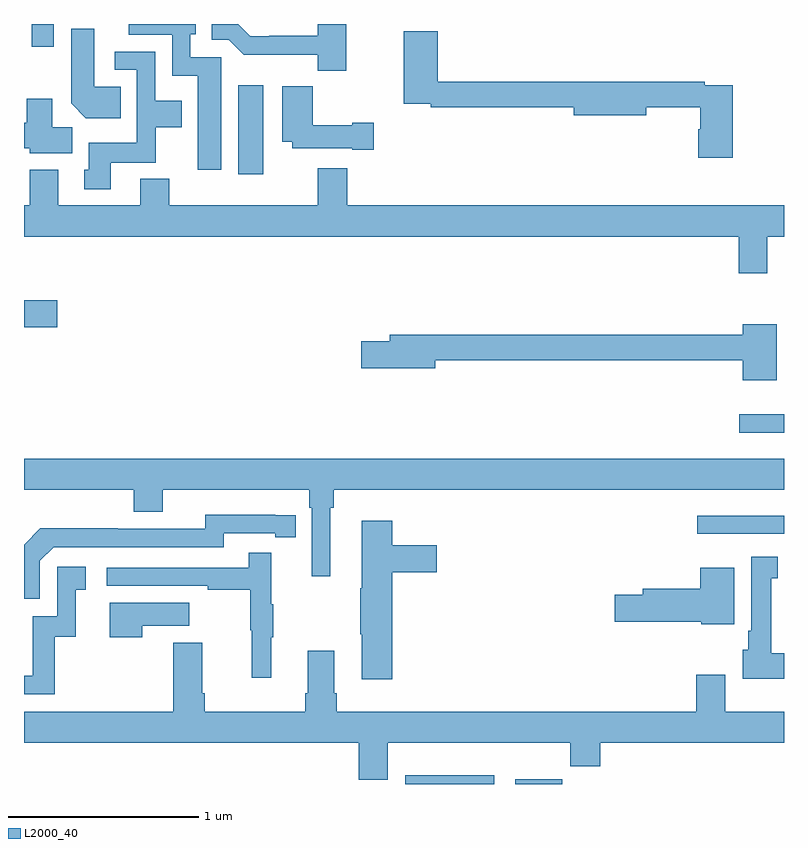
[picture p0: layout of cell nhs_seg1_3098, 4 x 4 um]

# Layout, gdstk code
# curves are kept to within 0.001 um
import gdstk
lib = gdstk.Library(unit=1e-6, precision=1e-09)
def R(c, l, rs):  # rectangles x0, y0, x1, y1
    for r in rs: c.add(gdstk.rectangle(r[:2], r[2:], *l))
def P(c, l, *ps):  # polygons
    for p in ps: c.add(gdstk.Polygon(p, *l))
L2000_40 = (2000, 40)

nhs_seg1_3098 = lib.new_cell('nhs_seg1_3098')
R(nhs_seg1_3098, L2000_40, [(281.006,534.199,281.476,534.244), (281.585,534.199,281.834,534.223), (282.543,535.515,283,535.612), (282.765,536.048,283,536.145), (279,536.603,279.175,536.745), (280.127,537.408,280.258,537.877), (279.04,538.08,279.156,538.199)])
P(nhs_seg1_3098, L2000_40, [(280.039,538.023),(279.876,538.023),(279.876,538.146),(279.904,538.146),(279.904,538.199),(279.552,538.199),(279.552,538.142),(279.78,538.142),(279.78,537.926),(279.914,537.926),(279.914,537.432),(280.039,537.432)],
  [(280.695,538.199),(280.547,538.199),(280.547,538.137),(280.291,538.137),(280.291,538.134),(280.192,538.134),(280.128,538.199),(279.989,538.199),(279.989,538.116),(280.077,538.116),(280.156,538.038),(280.545,538.038),(280.545,537.953),(280.695,537.953)],
  [(279.509,537.868),(279.37,537.868),(279.37,538.174),(279.248,538.174),(279.248,537.782),(279.326,537.704),(279.509,537.704)],
  [(282.731,537.876),(282.584,537.876),(282.584,537.896),(281.177,537.896),(281.177,538.162),(280.999,538.162),(280.999,537.78),(281.14,537.78),(281.14,537.76),(281.894,537.76),(281.894,537.718),(282.274,537.718),(282.274,537.76),(282.56,537.76),(282.56,537.645),(282.548,537.645),(282.548,537.495),(282.731,537.495)],
  [(279.457,537.47),(279.693,537.47),(279.693,537.656),(279.829,537.656),(279.829,537.796),(279.69,537.796),(279.69,538.053),(279.477,538.053),(279.477,537.957),(279.594,537.957),(279.594,537.574),(279.341,537.574),(279.341,537.432),(279.317,537.432),(279.317,537.33),(279.457,537.33)],
  [(280.84,537.68),(280.727,537.68),(280.727,537.667),(280.52,537.667),(280.52,537.871),(280.358,537.871),(280.358,537.578),(280.413,537.578),(280.413,537.545),(280.727,537.545),(280.727,537.538),(280.84,537.538)],
  [(279.253,537.656),(279.148,537.656),(279.148,537.805),(279.014,537.805),(279.014,537.68),(279,537.68),(279,537.545),(279.03,537.545),(279.03,537.518),(279.253,537.518)],
  [(282.913,537.08),(283,537.08),(283,537.244),(280.7,537.244),(280.7,537.439),(280.547,537.439),(280.547,537.244),(279.764,537.244),(279.764,537.385),(279.611,537.385),(279.611,537.244),(279.181,537.244),(279.181,537.433),(279.029,537.433),(279.029,537.244),(279,537.244),(279,537.08),(282.761,537.08),(282.761,536.886),(282.913,536.886)],
  [(282.961,536.62),(282.782,536.62),(282.782,536.564),(280.925,536.564),(280.925,536.528),(280.776,536.528),(280.776,536.386),(281.164,536.386),(281.164,536.428),(282.782,536.428),(282.782,536.324),(282.961,536.324)],
  [(280.612,535.652),(280.631,535.652),(280.631,535.748),(283,535.748),(283,535.912),(279,535.912),(279,535.748),(279.578,535.748),(279.578,535.631),(279.73,535.631),(279.73,535.748),(280.502,535.748),(280.502,535.652),(280.515,535.652),(280.515,535.293),(280.612,535.293)],
  [(279.084,535.374),(279.156,535.446),(280.05,535.446),(280.05,535.518),(280.322,535.518),(280.322,535.498),(280.43,535.498),(280.43,535.614),(279.954,535.615),(279.954,535.542),(279.494,535.542),(279.494,535.544),(279.086,535.544),(279,535.458),(279,535.173),(279.084,535.173)],
  [(280.937,535.313),(281.173,535.313),(281.173,535.455),(280.937,535.455),(280.937,535.585),(280.778,535.585),(280.778,535.229),(280.771,535.229),(280.771,534.988),(280.778,534.988),(280.778,534.75),(280.937,534.75)],
  [(280.301,534.971),(280.312,534.971),(280.312,535.145),(280.301,535.145),(280.301,535.417),(280.183,535.417),(280.183,535.338),(279.435,535.338),(279.435,535.242),(279.967,535.242),(279.967,535.222),(280.191,535.222),(280.191,535.008),(280.198,535.008),(280.198,534.759),(280.301,534.759)],
  [(283,534.886),(282.934,534.886),(282.934,535.283),(282.967,535.283),(282.967,535.396),(282.827,535.396),(282.827,535.006),(282.812,535.006),(282.812,534.906),(282.782,534.906),(282.782,534.752),(283,534.752)],
  [(279.161,534.975),(279.272,534.975),(279.272,535.221),(279.325,535.221),(279.325,535.342),(279.174,535.342),(279.174,535.083),(279.045,535.083),(279.045,534.768),(279,534.768),(279,534.672),(279.161,534.672)],
  [(282.739,535.336),(282.56,535.336),(282.56,535.226),(282.257,535.226),(282.257,535.196),(282.108,535.196),(282.108,535.054),(282.564,535.054),(282.564,535.04),(282.739,535.04)],
  [(279.623,535.031),(279.871,535.031),(279.871,535.153),(279.452,535.153),(279.452,534.972),(279.623,534.972)],
  [(280.915,534.416),(281.875,534.416),(281.875,534.292),(282.032,534.292),(282.032,534.416),(283,534.416),(283,534.58),(282.691,534.58),(282.691,534.775),(282.539,534.775),(282.539,534.58),(280.646,534.58),(280.646,534.676),(280.633,534.676),(280.633,534.901),(280.493,534.901),(280.493,534.676),(280.481,534.676),(280.481,534.58),(279.95,534.58),(279.95,534.676),(279.937,534.676),(279.937,534.943),(279.785,534.943),(279.785,534.58),(279,534.58),(279,534.416),(280.763,534.416),(280.763,534.222),(280.915,534.222)])

lib.write_gds('nhs_seg1_3098.gds')
